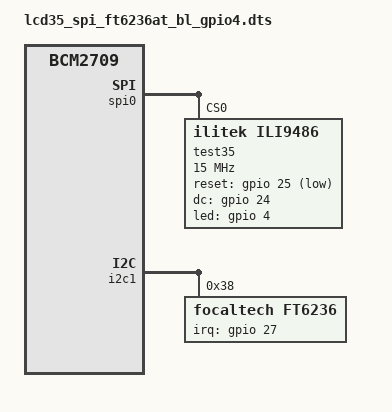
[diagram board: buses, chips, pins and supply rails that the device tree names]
/*
 * Device Tree overlay for InnoMaker 3.5inch capacitive IPS LCD
 * Author: JackYang
 * Copyright: InnoMaker
 */

/dts-v1/;
/plugin/;

/ {
	compatible = "brcm,bcm2835", "brcm,bcm2708", "brcm,bcm2709";

	fragment@0 {
		target = <&spi0>;
		__overlay__ {
			status = "okay";

			spidev0: spidev@0 {
				reg = <0>;
				status = "disabled";
			};

			spidev1: spidev@1 {
				reg = <1>;
				status = "disabled";
			};
		};
	};

	fragment@1 {
		target = <&gpio>;
		__overlay__ {
			test35_pins: test35_pins {
				brcm,pins = <27 4 25 24>; /* ctp_int bl lcd_rst lcd_rs */
				brcm,function = <0 1 1 1>; /* in out out out */
				brcm,pull = <2 0 0 0>;     /* pullup none none none */
			};
		};
	};

	fragment@2 {
		target = <&spi0>;
		__overlay__ {
			/* needed to avoid dtc warning */
			#address-cells = <1>;
			#size-cells = <0>;

			test35: test35@0 {
				compatible = "ilitek,ili9486";
				reg = <0>;
				pinctrl-names = "default";
				pinctrl-0 = <&test35_pins>;

				spi-max-frequency = <15000000>;
				txbuflen = <32768>;
				rotate = <90>;
				bgr = <0>;
				fps = <30>;
				buswidth = <8>; /* fallback to 8-bit for stability */
				reset-gpios = <&gpio 25 1>;
				dc-gpios = <&gpio 24 0>;
				led-gpios = <&gpio 4 0>; /* backlight high enable */
				debug = <0>;

				init = <
					0x1000011
					0x20000ff
					0x1000036 0x48
					0x100003a 0x55
					0x10000c0 0x0d 0x0d
					0x10000c1 0x43
					0x10000c5 0x00 0x48
					0x10000b0 0x00
					0x10000b1 0xb0 0x11
					0x10000b4 0x02
					0x10000b6 0x02 0x02
					0x10000b7 0xc6
					0x10000e9 0x00
					0x10000f7 0xa9 0x51 0x2c 0x82
					0x1000029
				>;
			};
		};
	};

	fragment@3 {
		target = <&i2c1>;
		__overlay__ {
			/* needed to avoid dtc warning */
			#address-cells = <1>;
			#size-cells = <0>;

			ft6236: ft6236@38 {
				compatible = "focaltech,ft6236";
				reg = <0x38>;
				interrupt-parent = <&gpio>;
				interrupts = <27 2>;
				touchscreen-size-x = <480>;
				touchscreen-size-y = <320>;
			};
		};
	};

	__overrides__ {
		speed       = <&test35>,"spi-max-frequency:0";
		txbuflen    = <&test35>,"txbuflen:0";
		rotate      = <&test35>,"rotate:0";
		fps         = <&test35>,"fps:0";
		bgr         = <&test35>,"bgr:0";
		debug       = <&test35>,"debug:0";
		touch-sizex = <&ft6236>,"touchscreen-size-x:0";
		touch-sizey = <&ft6236>,"touchscreen-size-y:0";
		touch-invx  = <&ft6236>,"touchscreen-inverted-x?";
		touch-invy  = <&ft6236>,"touchscreen-inverted-y?";
		touch-swapxy = <&ft6236>,"touchscreen-swapped-x-y?";
	};
};
